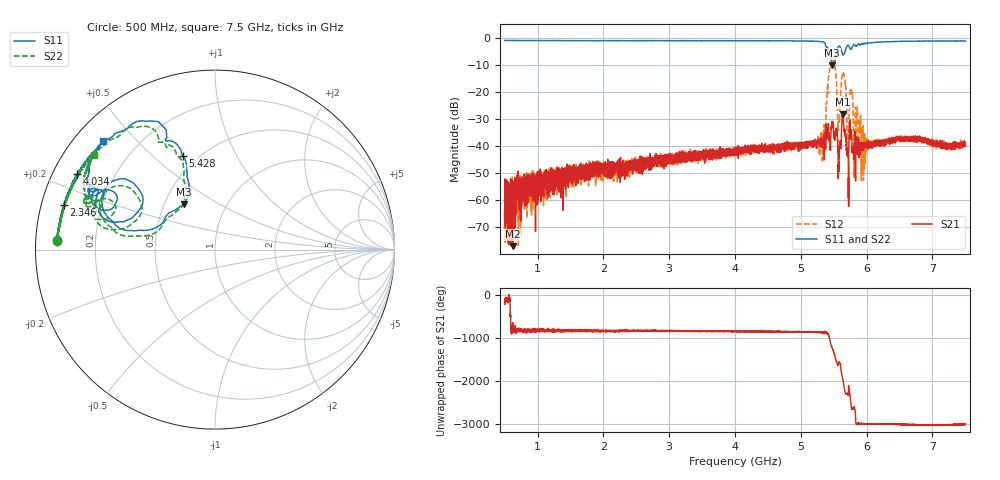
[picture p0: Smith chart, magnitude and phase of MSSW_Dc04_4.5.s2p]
!Keysight Technologies,M9374A,MY55442783,A.12.55.05
!Date: Wednesday, May 19, 2021 17:02:24
!Correction: S11(Full 2 Port(1,2))
!S21(Full 2 Port(1,2))
!S12(Full 2 Port(1,2))
!S22(Full 2 Port(1,2))
!S2P File: Measurements: S11, S21, S12, S22:
# Hz S  RI  R 50
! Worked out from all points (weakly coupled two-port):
!   7001 points, 500 MHz to 7.5 GHz, reference 50 ohm
!   highest |S21| = -28.26 dB at 5.636 GHz (marker M1); lowest = -76.9 dB at 623 MHz (marker M2)
!   lowest |S11| = -10.3 dB at 5.475 GHz (marker M3), VSWR 1.88, Z = 31.4 + j17.4 ohm
!   |S11| at or under -10 dB: 5.472695 GHz to 5.485356 GHz (12.66 MHz wide, 0.231 % of centre)
!   |S22| runs from -10.5 to -1.1 dB; largest |S21 - S12| = 0.36
!   S11 on the Smith chart (normalised r, x): 500 MHz: 0.06, +0.03; 2.346 GHz: 0.07, +0.14; 4.034 GHz: 0.07, +0.25; 5.428 GHz: 0.42, +0.63; 7.5 GHz: 0.08, +0.40
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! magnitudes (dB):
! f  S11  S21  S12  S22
! 500 MHz  -1.1  -64.5  -64.8  -1.1
! 623 MHz  -1.1  -76.9  -70.5  -1.1
! 1.667 GHz  -1.1  -51.7  -53.2  -1.2
! 2.346 GHz  -1.1  -46.0  -47.2  -1.2
! 2.834 GHz  -1.2  -45.2  -46.6  -1.2
! 4 GHz  -1.2  -42.3  -41.8  -1.2
! 4.034 GHz  -1.2  -40.6  -42.1  -1.2
! 5.167 GHz  -1.3  -39.5  -39.1  -1.4
! 5.346 GHz  -1.6  -36.3  -34.5  -1.6
! 5.428 GHz  -5.1  -38.2  -13.5  -5.1
! 5.475 GHz  -10.3  -31.2  -8.4  -10.2
! 5.513 GHz  -9.2  -35.7  -10.2  -9.4
! 5.575 GHz  -3.2  -49.3  -31.2  -3.2
! 5.636 GHz  -6.2  -28.3  -13.1  -6.5
! 5.661 GHz  -6.0  -34.2  -14.3  -6.0
! 5.708 GHz  -3.0  -41.4  -42.9  -3.0
! 5.765 GHz  -4.3  -35.0  -19.7  -4.3
! 5.816 GHz  -2.6  -35.8  -41.0  -2.7
! 5.878 GHz  -2.3  -40.0  -38.7  -2.3
! 5.951 GHz  -2.3  -38.6  -52.7  -2.3
! 6.334 GHz  -1.5  -38.6  -37.7  -1.6
! 7.5 GHz  -1.2  -39.2  -38.1  -1.3
